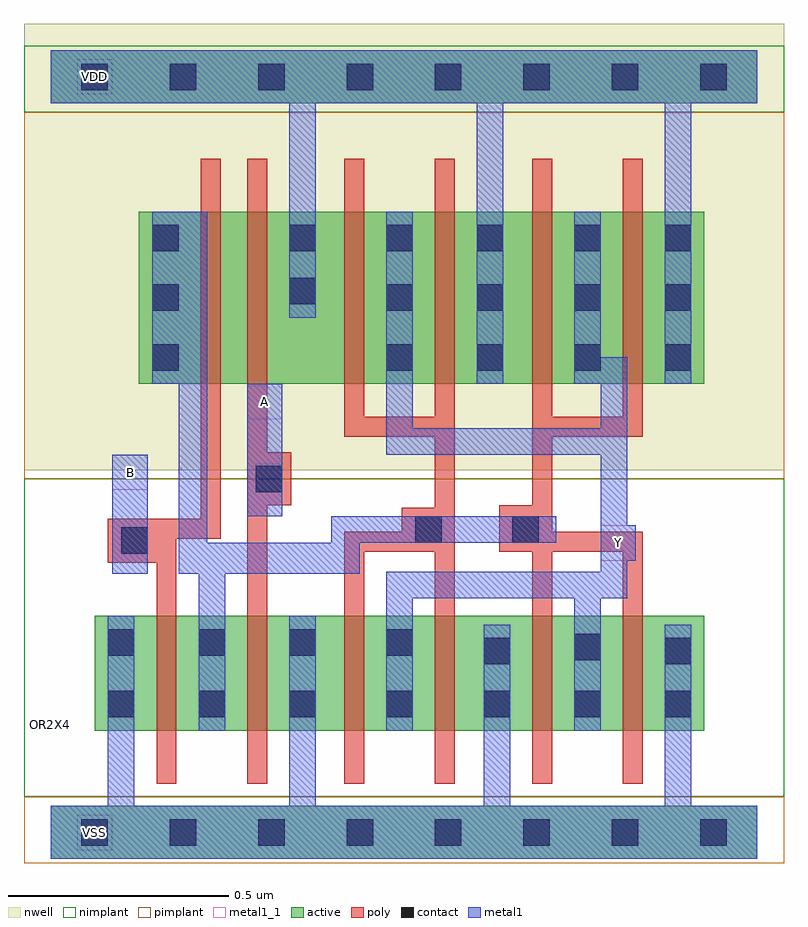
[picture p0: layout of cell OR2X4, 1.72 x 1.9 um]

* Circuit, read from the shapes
.subckt OR2X4 A B VDD VSS Y
M1 n1 B VSS VSS nfet w=0.26u l=0.045u
M2 VSS A n1 VSS nfet w=0.26u l=0.045u
M3 Y n1 VSS VSS nfet w=0.26u l=0.045u m=4
M4 n2 B n1 VDD pfet w=0.39u l=0.045u
M5 VDD A n2 VDD pfet w=0.39u l=0.045u
M6 Y n1 VDD VDD pfet w=0.39u l=0.045u m=4
.ends

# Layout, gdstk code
import gdstk
lib = gdstk.Library(unit=1e-6, precision=5e-10)
def R(c, l, rs):  # rectangles x0, y0, x1, y1
    for r in rs: c.add(gdstk.rectangle(r[:2], r[2:], *l))
def A(c, l, x, y, w, h, nx, ny, dx, dy):  # array of equal rectangles
    R(c, l, [(x+i*dx, y+j*dy, x+i*dx+w, y+j*dy+h) for i in range(nx) for j in range(ny)])
def P(c, l, *ps):  # polygons
    for p in ps: c.add(gdstk.Polygon(p, *l))
active = (1, 0)
nwell = (2, 0)
poly = (3, 0)
nimplant = (4, 0)
pimplant = (5, 0)
contact = (6, 0)
metal1 = (7, 0)
metal1_1 = (7, 1)

or2x4 = lib.new_cell('OR2X4')
R(or2x4, active, [(0,-0.06,1.6,0.06), (0.1,0.23,1.48,0.49), (0.2,1.015,1.48,1.405), (0,1.65,1.6,1.77)])
R(or2x4, nwell, [(-0.06,0.82,1.66,1.83)])
P(or2x4, poly, [(0.34,1.525),(0.385,1.525),(0.385,0.665),(0.285,0.665),(0.285,0.11),(0.24,0.11),(0.24,0.61),(0.13,0.61),(0.13,0.71),(0.34,0.71)],
  [(0.445,1.525),(0.49,1.525),(0.49,0.86),(0.545,0.86),(0.545,0.74),(0.49,0.74),(0.49,0.11),(0.445,0.11)],
  [(0.915,1.525),(0.87,1.525),(0.87,0.94),(0.71,0.94),(0.71,1.525),(0.665,1.525),(0.665,0.895),(0.87,0.895),(0.87,0.735),(0.795,0.735),(0.795,0.68),(0.665,0.68),(0.665,0.11),(0.71,0.11),(0.71,0.635),(0.87,0.635),(0.87,0.11),(0.915,0.11)],
  [(1.09,1.525),(1.135,1.525),(1.135,0.94),(1.295,0.94),(1.295,1.525),(1.34,1.525),(1.34,0.895),(1.135,0.895),(1.135,0.68),(1.34,0.68),(1.34,0.11),(1.295,0.11),(1.295,0.635),(1.135,0.635),(1.135,0.11),(1.09,0.11),(1.09,0.635),(1.015,0.635),(1.015,0.74),(1.09,0.74)])
R(or2x4, nimplant, [(-0.06,0.08,1.66,0.8), (-0.06,1.63,1.66,1.78)])
R(or2x4, pimplant, [(-0.06,-0.07,1.66,0.08), (-0.06,0.8,1.66,1.63)])
A(or2x4, contact, 0.07, -0.03, 0.06, 0.06, 8, 2, 0.2, 1.71)
A(or2x4, contact, 0.13, 0.26, 0.06, 0.06, 3, 2, 0.205, 0.14)
A(or2x4, contact, 0.98, 0.26, 0.06, 0.06, 3, 1, 0.205, 0)
A(or2x4, contact, 0.23, 1.045, 0.06, 0.06, 1, 3, 0, 0.135)
A(or2x4, contact, 0.76, 1.045, 0.06, 0.06, 1, 3, 0, 0.135)
A(or2x4, contact, 0.965, 1.045, 0.06, 0.06, 1, 3, 0, 0.135)
A(or2x4, contact, 1.185, 1.045, 0.06, 0.06, 1, 3, 0, 0.135)
A(or2x4, contact, 1.39, 1.045, 0.06, 0.06, 1, 3, 0, 0.135)
R(or2x4, contact, [(0.76,0.26,0.82,0.32), (0.98,0.38,1.04,0.44), (1.39,0.38,1.45,0.44), (1.185,0.39,1.245,0.45), (0.76,0.4,0.82,0.46), (0.16,0.63,0.22,0.69), (0.825,0.655,0.885,0.715), (1.045,0.655,1.105,0.715), (0.465,0.77,0.525,0.83), (0.54,1.195,0.6,1.255), (0.54,1.315,0.6,1.375)])
R(or2x4, metal1, [(0.14,0.585,0.22,0.855), (0.445,0.715,0.525,1.015)])
P(or2x4, metal1, [(1.6,1.77),(0,1.77),(0,1.65),(0.54,1.65),(0.54,1.165),(0.6,1.165),(0.6,1.65),(0.965,1.65),(0.965,1.015),(1.025,1.015),(1.025,1.65),(1.39,1.65),(1.39,1.015),(1.45,1.015),(1.45,1.65),(1.6,1.65)],
  [(1.6,0.06),(1.45,0.06),(1.45,0.47),(1.39,0.47),(1.39,0.06),(1.04,0.06),(1.04,0.47),(0.98,0.47),(0.98,0.06),(0.6,0.06),(0.6,0.49),(0.54,0.49),(0.54,0.06),(0.19,0.06),(0.19,0.49),(0.13,0.49),(0.13,0.06),(0,0.06),(0,-0.06),(1.6,-0.06)],
  [(1.325,0.695),(1.305,0.695),(1.305,1.075),(1.245,1.075),(1.245,1.405),(1.185,1.405),(1.185,1.015),(1.245,1.015),(1.245,0.915),(0.82,0.915),(0.82,1.405),(0.76,1.405),(0.76,0.855),(1.245,0.855),(1.245,0.59),(0.76,0.59),(0.76,0.23),(0.82,0.23),(0.82,0.53),(1.185,0.53),(1.185,0.23),(1.245,0.23),(1.245,0.53),(1.305,0.53),(1.305,0.615),(1.325,0.615)],
  [(1.145,0.715),(0.635,0.715),(0.635,0.655),(0.355,0.655),(0.355,1.405),(0.23,1.405),(0.23,1.015),(0.29,1.015),(0.29,0.585),(0.335,0.585),(0.335,0.23),(0.395,0.23),(0.395,0.585),(0.7,0.585),(0.7,0.655),(1.145,0.655)])
R(or2x4, metal1_1, [(0.06,-0.04,0.14,0.04), (1.245,0.615,1.325,0.695), (0.14,0.775,0.22,0.855), (0.445,0.935,0.525,1.015), (0.06,1.67,0.14,1.75)])
or2x4.add(gdstk.Label('A', (0.485,0.975), layer=7, texttype=1))
or2x4.add(gdstk.Label('VSS', (0.1,0), layer=7, texttype=1))
or2x4.add(gdstk.Label('Y', (1.285,0.655), layer=7, texttype=1))
or2x4.add(gdstk.Label('B', (0.18,0.815), layer=7, texttype=1))
or2x4.add(gdstk.Label('VDD', (0.1,1.71), layer=7, texttype=1))
or2x4.add(gdstk.Label('OR2X4', (0,0.245), layer=63, texttype=0))

lib.write_gds('OR2X4.gds')
